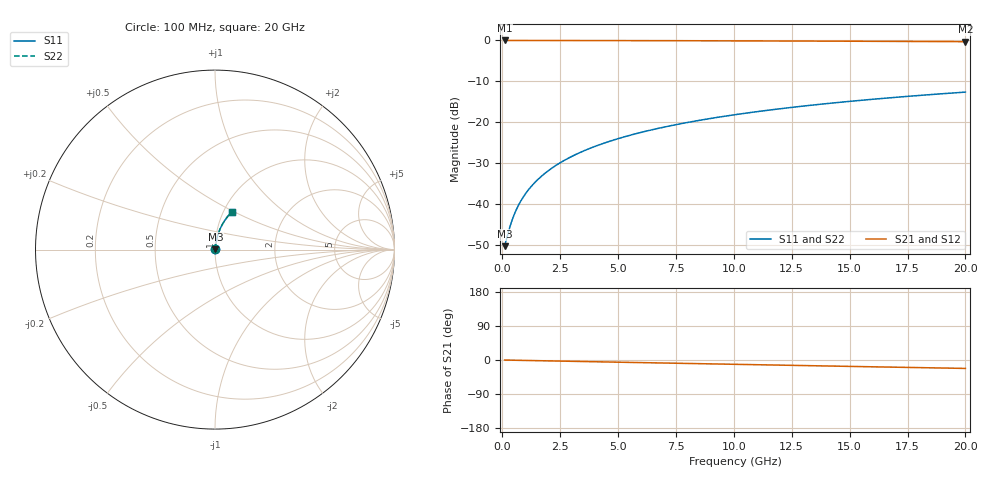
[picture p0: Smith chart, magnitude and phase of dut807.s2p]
! Touchstone file exported from HFSS 2026.1.0
!  File:  C:/ffzhzh/LocalFiles/Ansys_Project_Files/temp_train_BSMRDL_807_1783169813_55132.aedt
!  Generated:  08:58:05 PM Jul  4, 2026
!  Design:  BSMRDL
!  Project:  temp_train_BSMRDL_807_1783169813_55132
! Variables:
!  h_bsmrdl = 3.2um
!  h_ox = 20um
!  h_rdl = 5um
!  h_sub = 80um
!  h_tmrdl = 5um
!  h_tsv = 80um
!  h_via = 3um
!  l_bsmrdl = 296.17um
!  l_sub = 696.17um
!  l_tmrdl = 200um
!  m_sub = 200um
!  pitch = 32.8um
!  r_tsv = 6um
!  s_tmrdl = 10um
!  w_bsmrdl = 12.82um
!  w_sub = 500um
!  w_tmrdl = 12um
!  x_tsv_center1 = 206um
!  x_tsv_center2 = 514.99um
!  x_tsv_center3 = 726.99um
!  x_tsv_center4 = 1035.98um
!  x_tsv_center5 = 1247.98um
!  x_tsv_center6 = 1556.97um
# GHz S MA R 50.000000
! Terminal data exported
! Port[1] = BSM_RDL1_1_T1
! Port[2] = BSM_RDL1_1_T2
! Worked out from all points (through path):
!   200 points, 100 MHz to 20 GHz, reference 50 ohm
!   highest |S21| = -0.02 dB at 100 MHz (marker M1); lowest = -0.3 dB at 20 GHz (marker M2)
!   group delay of S21, straight-line fit = 3.09 ps
!   lowest |S11| = -50.4 dB at 100 MHz (marker M3), VSWR 1.01, Z = 50.3 + j0.136 ohm
!   |S11| at or under -10 dB: start of sweep to end of sweep
!   |S22| runs from -50.4 to -12.7 dB; largest |S21 - S12| = 2.1e-15
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0.1  0.003029 26.4  0.9973 -0.1  0.9973 -0.1  0.003029 26.4
! Gamma 0 0 0 0
! Port Impedance 50 0 50 0
0.3  0.004899 54.7  0.9972 -0.4  0.9972 -0.4  0.004899 54.7
0.4  0.006039 61.1  0.9971 -0.5  0.9971 -0.5  0.006039 61.1
0.5  0.007216 65.4  0.997 -0.6  0.997 -0.6  0.007216 65.4
0.6  0.00841 68.4  0.997 -0.7  0.997 -0.7  0.00841 68.4
0.7  0.009612 70.7  0.9969 -0.8  0.9969 -0.8  0.009612 70.7
0.9  0.01203 73.9  0.9968 -1.1  0.9968 -1.1  0.01203 73.9
1.2  0.0157 76.8  0.9967 -1.4  0.9967 -1.4  0.0157 76.8
1.4  0.01815 78.0  0.9966 -1.6  0.9966 -1.6  0.01815 78.0
1.7  0.02185 79.3  0.9964 -2.0  0.9964 -2.0  0.02185 79.3
2.2  0.02805 80.4  0.9962 -2.6  0.9962 -2.6  0.02805 80.4
2.8  0.0355 81.0  0.9958 -3.2  0.9958 -3.2  0.0355 81.0
3.5  0.04418 81.1  0.9953 -4.0  0.9953 -4.0  0.04418 81.1
4.2  0.05283 80.9  0.9947 -4.9  0.9947 -4.9  0.05283 80.9
5  0.06268 80.4  0.9939 -5.8  0.9939 -5.8  0.06268 80.4
5.9  0.07367 79.7  0.9928 -6.8  0.9928 -6.8  0.07367 79.7
6.8  0.08458 78.9  0.9916 -7.8  0.9916 -7.8  0.08458 78.9
8.3  0.1025 77.5  0.9894 -9.5  0.9894 -9.5  0.1025 77.5
10.1  0.1237 75.7  0.9863 -11.5  0.9863 -11.5  0.1237 75.7
13.4  0.1615 72.3  0.9798 -15.1  0.9798 -15.1  0.1615 72.3
16.7  0.1978 69.0  0.9722 -18.7  0.9722 -18.7  0.1978 69.0
20  0.2327 65.6  0.9638 -22.2  0.9638 -22.2  0.2327 65.6
